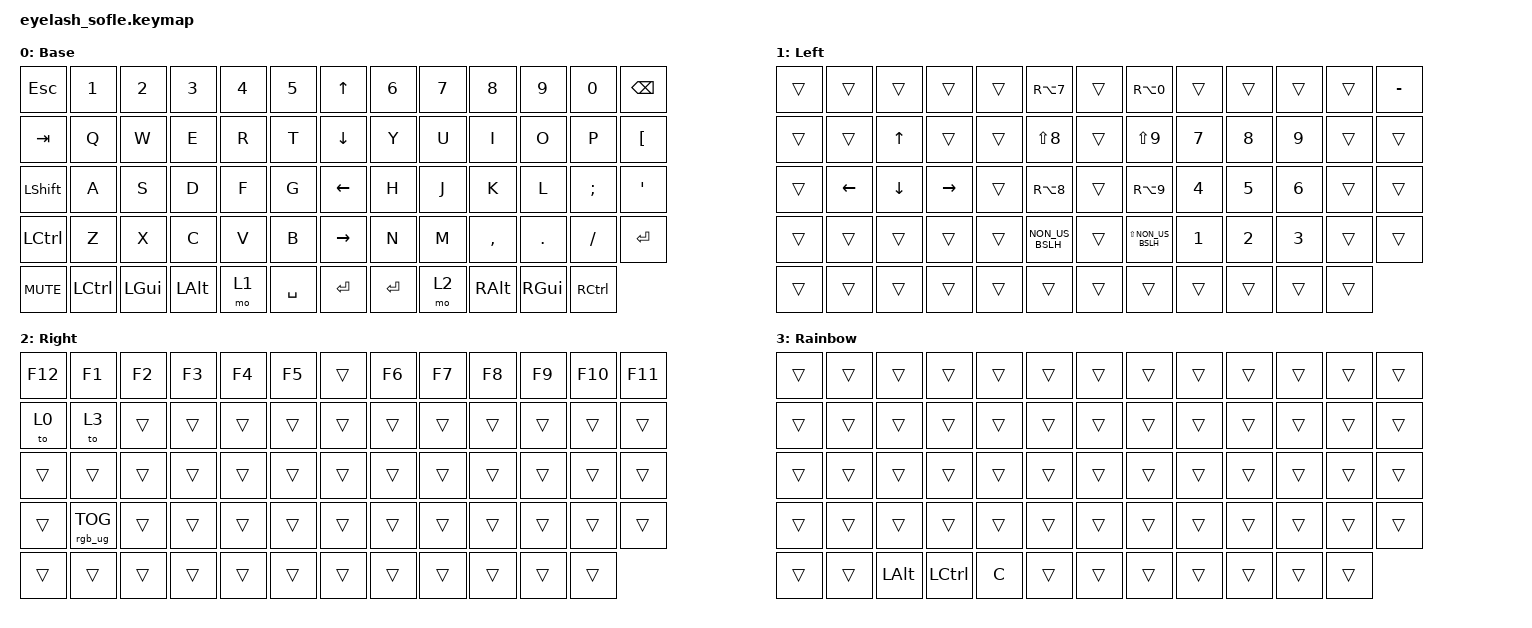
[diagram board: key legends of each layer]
#define ZMK_POINTING_DEFAULT_MOVE_VAL 1200  // 600
#define ZMK_POINTING_DEFAULT_SCRL_VAL 35    // 10

#include <input/processors.dtsi>
#include <zephyr/dt-bindings/input/input-event-codes.h>
#include <behaviors.dtsi>
#include <dt-bindings/zmk/bt.h>
#include <dt-bindings/zmk/keys.h>
#include <dt-bindings/zmk/outputs.h>
#include <dt-bindings/zmk/pointing.h>
#include <dt-bindings/zmk/rgb.h>

/ {
    zip_scroll_scaler: zip_scroll_scaler {
        compatible = "zmk,input-processor-scaler";
        #input-processor-cells = <2>;
        type = <INPUT_EV_REL>;
        codes = <INPUT_REL_WHEEL INPUT_REL_HWHEEL>;
        track-remainders;
    };
};

&mmv_input_listener { input-processors = <&zip_xy_scaler 2 1>; };

&msc_input_listener { input-processors = <&zip_scroll_scaler 2 1>; };

&msc {
    acceleration-exponent = <0>;      // 0
    time-to-max-speed-ms = <0>;       // 300
    delay-ms = <0>;                   // 0
};

&mmv {
    time-to-max-speed-ms = <400>;
    acceleration-exponent = <1>;
};

/ {
    scroll_encoder: scroll_encoder {
        compatible = "zmk,behavior-sensor-rotate";
        #sensor-binding-cells = <0>;
        bindings = <&msc SCRL_DOWN>, <&msc SCRL_UP>;

        tap-ms = <100>;
    };

    macros {
        shift_MB3: shift_MB3 {
            compatible = "zmk,behavior-macro";
            #binding-cells = <0>;
            bindings =
                <&macro_press>,
                <&kp LEFT_SHIFT>,
                <&macro_press>,
                <&mkp MB3>,
                <&macro_pause_for_release>,
                <&macro_release>,
                <&mkp MB3 &kp LEFT_SHIFT>;

            label = "SHIFT_MB3";
        };
    };

    behaviors {
    };

    keymap {
        compatible = "zmk,keymap";

        layer0 {
            display-name = "Base";
            bindings = <
&kp ESC     &kp N1     &kp N2     &kp N3    &kp N4  &kp N5       &kp UP_ARROW     &kp N6     &kp N7     &kp N8     &kp N9    &kp N0      &kp BACKSPACE
&kp TAB     &kp Q      &kp W      &kp E     &kp R   &kp T        &kp DOWN_ARROW   &kp Y      &kp U      &kp I      &kp O     &kp P       &kp LBKT
&kp LSHFT   &kp A      &kp S      &kp D     &kp F   &kp G        &kp LEFT_ARROW   &kp H      &kp J      &kp K      &kp L     &kp SEMI    &kp APOS
&kp LCTRL   &kp Z      &kp X      &kp C     &kp V   &kp B        &kp RIGHT_ARROW  &kp N      &kp M      &kp COMMA  &kp DOT   &kp FSLH    &kp ENTER
&kp C_MUTE  &kp LCTRL  &kp LGUI   &kp LALT  &mo 1   &kp SPACE    &kp ENTER        &kp ENTER  &mo 2      &kp RALT   &kp RGUI  &kp RCTRL
            >;
        };

        layer_l {
            display-name = "Left";
            bindings = <
&trans  &trans    &trans    &trans     &trans  &kp RA(N7)       &trans  &kp RA(N0)           &trans   &trans  &trans  &trans  &kp MINUS
&trans  &trans    &kp UP    &trans     &trans  &kp LS(N8)       &trans  &kp LS(N9)           &kp N7   &kp N8  &kp N9  &trans  &trans
&trans  &kp LEFT  &kp DOWN  &kp RIGHT  &trans  &kp RA(N8)       &trans  &kp RA(N9)           &kp N4   &kp N5  &kp N6  &trans  &trans
&trans  &trans    &trans    &trans     &trans  &kp NON_US_BSLH  &trans  &kp LS(NON_US_BSLH)  &kp N1  &kp N2  &kp N3  &trans  &trans
&trans  &trans    &trans    &trans     &trans  &trans           &trans  &trans               &trans   &trans  &trans  &trans
            >;
        };


        layer_r {
            display-name = "Right";
            bindings = <
&kp F12 &kp F1           &kp F2  &kp F3  &kp F4  &kp F5  &trans  &kp F6  &kp F7  &kp F8  &kp F9  &kp F10 &kp F11
&to 0   &to 3            &trans  &trans  &trans  &trans  &trans  &trans  &trans  &trans  &trans  &trans  &trans
&trans  &trans           &trans  &trans  &trans  &trans  &trans  &trans  &trans  &trans  &trans  &trans  &trans
&trans  &rgb_ug RGB_TOG  &trans  &trans  &trans  &trans  &trans  &trans  &trans  &trans  &trans  &trans  &trans
&trans  &trans           &trans  &trans  &trans  &trans  &trans  &trans  &trans  &trans  &trans  &trans
            >;
        };


        layer_rainbow {
            display-name = "Rainbow";
            bindings = <
&trans  &trans  &trans     &trans     &trans  &trans  &trans  &trans  &trans  &trans  &trans  &trans  &trans
&trans  &trans  &trans     &trans     &trans  &trans  &trans  &trans  &trans  &trans  &trans  &trans  &trans
&trans  &trans  &trans     &trans     &trans  &trans  &trans  &trans  &trans  &trans  &trans  &trans  &trans
&trans  &trans  &trans     &trans     &trans  &trans  &trans  &trans  &trans  &trans  &trans  &trans  &trans
&trans  &trans  &kp LALT   &kp LCTRL  &kp C   &trans  &trans  &trans  &trans  &trans  &trans  &trans
            >;
        };

/*         layer_blank { */
/*             display-name="Blank" */
/*             bindings = <*/
/* &trans  &trans  &trans  &trans  &trans  &trans  &trans  &trans  &trans  &trans  &trans  &trans  &trans */
/* &trans  &trans  &trans  &trans  &trans  &trans  &trans  &trans  &trans  &trans  &trans  &trans  &trans */
/* &trans  &trans  &trans  &trans  &trans  &trans  &trans  &trans  &trans  &trans  &trans  &trans  &trans */
/* &trans  &trans  &trans  &trans  &trans  &trans  &trans  &trans  &trans  &trans  &trans  &trans  &trans */
/* &trans  &trans  &trans  &trans  &trans  &trans  &trans  &trans  &trans  &trans  &trans  &trans  &trans */
/* &trans  &trans  &trans  &trans  &trans  &trans  &trans  &trans  &trans  &trans  &trans  &trans */
/*             >;*/
/*         } */

/*         layer_1 { */
/*             bindings = < */
/* &kp GRAVE   &kp F1           &kp F2          &kp F3           &kp F4           &kp F5             &mmv MOVE_UP     &kp F6           &kp F7           &kp F8      &kp F9     &kp F10           &trans */
/* &trans      &kp GRAVE        &mkp LCLK       &mkp MCLK        &mkp RCLK        &mkp MB4           &mmv MOVE_DOWN   &kp PG_UP        &kp END          &kp UP      &kp HOME   &kp MINUS         &kp EQUAL */
/* &trans      &kp TILDE        &trans          &trans           &trans           &mkp MB5           &mmv MOVE_LEFT   &kp PG_DN        &kp LEFT         &kp DOWN    &kp RIGHT  &kp LEFT_BRACKET  &kp RIGHT_BRACKET */
/* &trans      &rgb_ug RGB_OFF  &rgb_ug RGB_ON  &rgb_ug RGB_EFF  &rgb_ug RGB_EFR  &rgb_ug RGB_SPI    &mmv MOVE_RIGHT  &rgb_ug RGB_BRI  &rgb_ug RGB_BRD  &kp INSERT  &kp F11    &kp F12           &trans */
/* &kp C_MUTE  &trans           &trans          &trans           &trans           &trans             &mkp LCLK        &trans           &trans           &trans      &trans     &trans */
/*             >; */
/*         }; */
/**/
/*         layer_2 { */
/*             bindings = < */
/* &kp TILDE  &bt BT_SEL 0  &bt BT_SEL 1    &bt BT_SEL 2  &bt BT_SEL 3  &bt BT_SEL 4    &mmv MOVE_UP     &kp F6  &kp F7  &kp F8      &kp F9     &kp F10      &trans */
/* &trans     &bt BT_CLR    &bt BT_CLR_ALL  &trans        &trans        &trans          &mmv MOVE_DOWN   &trans  &trans  &kp F11     &kp F12    &kp UNDER    &kp PLUS */
/* &trans     &out OUT_USB  &out OUT_BLE    &trans        &trans        &trans          &mmv MOVE_LEFT   &trans  &trans  &trans      &trans     &kp LBRC     &kp RBRC */
/* &trans     &sys_reset    &trans          &bootloader   &trans        &trans          &mmv MOVE_RIGHT  &trans  &trans  &sys_reset  &soft_off  &bootloader  &trans */
/* &trans     &trans        &trans          &trans        &trans        &trans          &mkp LCLK        &trans  &trans  &trans      &trans     &trans */
/*             >; */
/*         }; */
    };
};
